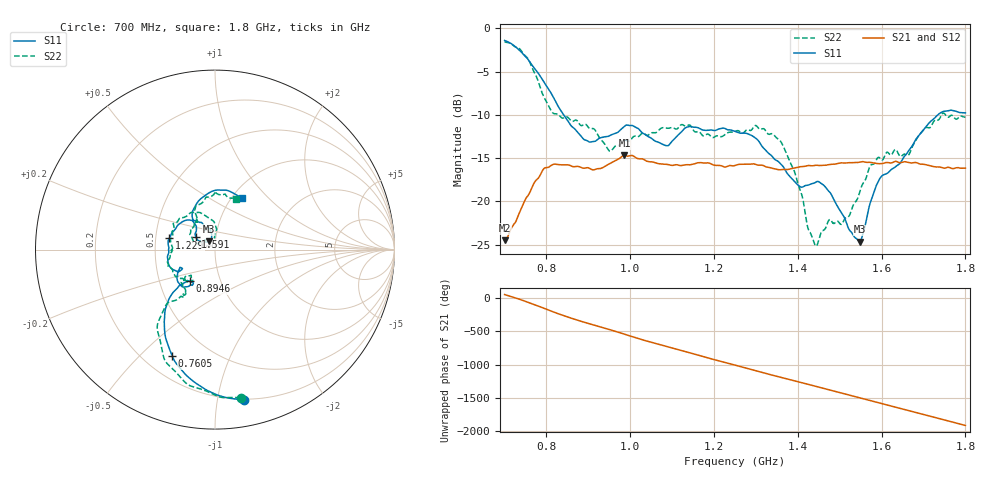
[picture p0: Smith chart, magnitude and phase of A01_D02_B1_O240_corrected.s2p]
! Created with skrf 1.9.0 (http://scikit-rf.org).
# Hz S RI R 50.0
!freq ReS11 ImS11 ReS21 ImS21 ReS12 ImS12 ReS22 ImS22
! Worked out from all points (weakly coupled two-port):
!   1601 points, 700 MHz to 1.8 GHz, reference 50 ohm
!   highest |S21| = -14.66 dB at 986 MHz (marker M1); lowest = -24.5 dB at 700.7 MHz (marker M2)
!   lowest |S11| = -24.7 dB at 1.548 GHz (marker M3), VSWR 1.12, Z = 46.3 + j4.27 ohm
!   |S11| at or under -10 dB: 841.1 MHz to 1.734 GHz (892.8 MHz wide, 69.3 % of centre)
!   |S22| runs from -25.2 to -1.5 dB; largest |S21 - S12| = 0.0035
!   S11 on the Smith chart (normalised r, x): 700 MHz: 0.20, -1.19; 760.5 MHz: 0.31, -0.63; 894.6 MHz: 0.71, -0.26; 1.229 GHz: 0.59, +0.08; 1.591 GHz: 0.80, +0.12; 1.8 GHz: 1.11, +0.72
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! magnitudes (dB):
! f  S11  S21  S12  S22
! 700 MHz  -1.4  -24.5  -24.3  -1.5
! 700.7 MHz  -1.4  -24.5  -24.2  -1.6
! 760.5 MHz  -3.9  -18.9  -18.8  -4.0
! 812.8 MHz  -7.6  -15.8  -15.8  -9.6
! 883.6 MHz  -12.5  -16.1  -16.0  -11.2
! 894.6 MHz  -12.9  -16.1  -16.2  -11.1
! 950.9 MHz  -12.4  -15.6  -15.6  -14.2
! 986 MHz  -11.3  -14.7  -14.8  -12.9
! 1.067 GHz  -13.2  -15.6  -15.6  -11.8
! 1.229 GHz  -11.7  -16.0  -15.9  -12.2
! 1.25 GHz  -11.9  -15.8  -15.8  -11.9
! 1.359 GHz  -15.7  -16.3  -16.3  -13.1
! 1.394 GHz  -17.8  -16.1  -16.1  -16.8
! 1.434 GHz  -17.9  -15.9  -15.8  -24.0
! 1.463 GHz  -18.2  -15.8  -15.8  -23.3
! 1.506 GHz  -21.4  -15.5  -15.5  -22.5
! 1.548 GHz  -24.7  -15.5  -15.4  -18.9
! 1.591 GHz  -17.8  -15.6  -15.6  -14.9
! 1.617 GHz  -16.6  -15.5  -15.5  -14.4
! 1.663 GHz  -14.2  -15.5  -15.5  -14.7
! 1.737 GHz  -9.9  -16.0  -16.1  -10.5
! 1.8 GHz  -9.8  -16.1  -16.1  -10.3
